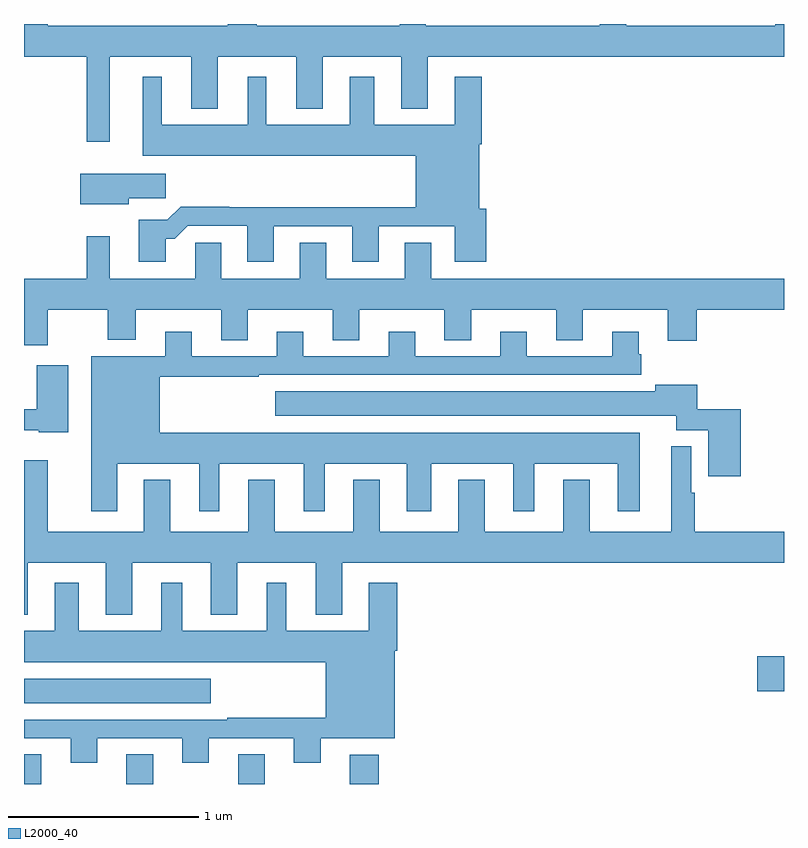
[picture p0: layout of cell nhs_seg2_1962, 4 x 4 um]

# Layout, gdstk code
import gdstk
lib = gdstk.Library(unit=1e-6, precision=1e-09)
def R(c, l, rs):  # rectangles x0, y0, x1, y1
    for r in rs: c.add(gdstk.rectangle(r[:2], r[2:], *l))
def P(c, l, *ps):  # polygons
    for p in ps: c.add(gdstk.Polygon(p, *l))
L2000_40 = (2000, 40)

nhs_seg2_1962 = lib.new_cell('nhs_seg2_1962')
R(nhs_seg2_1962, L2000_40, [(213,651.8,213.091,651.956), (213.539,651.8,213.679,651.956), (214.127,651.8,214.267,651.956), (214.715,651.8,214.868,651.955), (213,652.226,213.982,652.354), (216.858,652.289,217,652.472)])
P(nhs_seg2_1962, L2000_40, [(213.451,655.628),(213.881,655.628),(213.881,655.355),(214.021,655.355),(214.021,655.628),(214.433,655.628),(214.433,655.355),(214.573,655.355),(214.573,655.628),(214.985,655.628),(214.985,655.355),(215.125,655.355),(215.125,655.628),(217,655.628),(217,655.8),(216.953,655.8),(216.953,655.792),(216.169,655.792),(216.169,655.8),(216.029,655.8),(216.029,655.792),(215.115,655.792),(215.115,655.8),(214.977,655.8),(214.977,655.792),(214.225,655.792),(214.225,655.8),(214.073,655.8),(214.073,655.792),(213.124,655.792),(213.124,655.8),(213,655.8),(213,655.628),(213.33,655.628),(213.33,655.179),(213.451,655.179)],
  [(213.745,654.671),(213.794,654.671),(213.861,654.738),(214.175,654.738),(214.175,654.549),(214.315,654.549),(214.315,654.735),(214.727,654.735),(214.727,654.549),(214.867,654.549),(214.867,654.735),(215.267,654.735),(215.267,654.549),(215.432,654.549),(215.432,654.828),(215.395,654.828),(215.395,655.166),(215.408,655.166),(215.408,655.522),(215.267,655.522),(215.267,655.27),(214.843,655.27),(214.843,655.522),(214.715,655.522),(214.715,655.27),(214.276,655.27),(214.276,655.522),(214.178,655.522),(214.178,655.27),(213.724,655.27),(213.724,655.522),(213.626,655.522),(213.626,655.106),(215.063,655.106),(215.063,654.836),(214.079,654.836),(214.079,654.839),(213.824,654.839),(213.754,654.769),(213.605,654.769),(213.605,654.549),(213.745,654.549)],
  [(213.55,654.883),(213.745,654.883),(213.745,655.012),(213.296,655.012),(213.296,654.851),(213.55,654.851)],
  [(213.124,654.296),(213.442,654.296),(213.442,654.137),(213.589,654.137),(213.589,654.296),(214.037,654.296),(214.037,654.136),(214.177,654.136),(214.177,654.296),(214.625,654.296),(214.625,654.136),(214.765,654.136),(214.765,654.296),(215.213,654.296),(215.213,654.136),(215.353,654.136),(215.353,654.296),(215.801,654.296),(215.801,654.136),(215.941,654.136),(215.941,654.296),(216.389,654.296),(216.389,654.132),(216.542,654.132),(216.542,654.296),(217,654.296),(217,654.46),(215.143,654.46),(215.143,654.65),(215.003,654.65),(215.003,654.46),(214.591,654.46),(214.591,654.65),(214.451,654.65),(214.451,654.46),(214.039,654.46),(214.039,654.65),(213.9,654.65),(213.9,654.46),(213.451,654.46),(213.451,654.682),(213.33,654.682),(213.33,654.46),(213,654.46),(213,654.108),(213.124,654.108)],
  [(213.49,653.486),(213.923,653.486),(213.923,653.235),(214.027,653.235),(214.027,653.486),(214.472,653.486),(214.472,653.235),(214.582,653.235),(214.582,653.486),(215.015,653.486),(215.015,653.235),(215.143,653.235),(215.143,653.486),(215.576,653.486),(215.576,653.235),(215.686,653.235),(215.686,653.486),(216.125,653.486),(216.125,653.235),(216.241,653.235),(216.241,653.65),(213.715,653.65),(213.715,653.943),(214.235,653.943),(214.235,653.955),(216.248,653.955),(216.248,654.063),(216.235,654.063),(216.235,654.181),(216.095,654.181),(216.095,654.051),(215.647,654.051),(215.647,654.181),(215.507,654.181),(215.507,654.051),(215.059,654.051),(215.059,654.181),(214.919,654.181),(214.919,654.051),(214.471,654.051),(214.471,654.181),(214.331,654.181),(214.331,654.051),(213.883,654.051),(213.883,654.181),(213.743,654.181),(213.743,654.052),(213.353,654.052),(213.353,653.235),(213.49,653.235)],
  [(213.232,654.004),(213.067,654.004),(213.067,653.773),(213,653.773),(213,653.663),(213.078,653.663),(213.078,653.651),(213.232,653.651)],
  [(216.773,653.773),(216.544,653.773),(216.544,653.902),(216.323,653.902),(216.323,653.866),(214.323,653.866),(214.323,653.738),(216.434,653.738),(216.434,653.663),(216.602,653.663),(216.602,653.421),(216.773,653.421)],
  [(214.321,653.401),(214.181,653.401),(214.181,653.128),(213.769,653.128),(213.769,653.401),(213.629,653.401),(213.629,653.128),(213.124,653.128),(213.124,653.503),(213,653.503),(213,652.691),(213.019,652.691),(213.019,652.964),(213.431,652.964),(213.431,652.691),(213.571,652.691),(213.571,652.964),(213.983,652.964),(213.983,652.691),(214.123,652.691),(214.123,652.964),(214.535,652.964),(214.535,652.691),(214.675,652.691),(214.675,652.964),(217,652.964),(217,653.128),(216.529,653.128),(216.529,653.333),(216.511,653.333),(216.511,653.578),(216.407,653.578),(216.407,653.128),(215.977,653.128),(215.977,653.401),(215.837,653.401),(215.837,653.128),(215.425,653.128),(215.425,653.401),(215.285,653.401),(215.285,653.128),(214.873,653.128),(214.873,653.401),(214.733,653.401),(214.733,653.128),(214.321,653.128)],
  [(213.385,652.041),(213.833,652.041),(213.833,651.912),(213.973,651.912),(213.973,652.041),(214.421,652.041),(214.421,651.912),(214.561,651.912),(214.561,652.04),(214.951,652.04),(214.951,652.502),(214.964,652.502),(214.964,652.858),(214.814,652.858),(214.814,652.606),(214.381,652.606),(214.381,652.858),(214.277,652.858),(214.277,652.606),(213.832,652.606),(213.832,652.858),(213.722,652.858),(213.722,652.606),(213.289,652.606),(213.289,652.858),(213.161,652.858),(213.161,652.606),(213,652.606),(213,652.442),(214.589,652.442),(214.589,652.15),(214.069,652.15),(214.069,652.137),(213,652.137),(213,652.041),(213.245,652.041),(213.245,651.912),(213.385,651.912)])

lib.write_gds('nhs_seg2_1962.gds')
